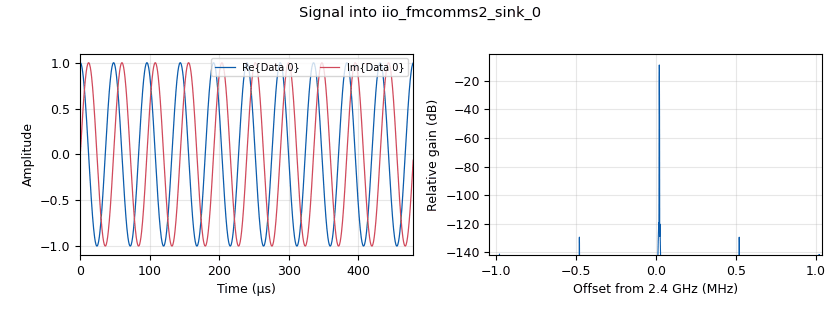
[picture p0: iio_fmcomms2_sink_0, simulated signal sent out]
options:
  parameters:
    author: Travis Collins <travis.collins@analog.com>
    copyright: Analog Devices, Inc.
    generate_options: qt_gui
    id: cyclic_sine_fmcomms
    output_language: python
    title: 'FMComms Example: Cyclic-Sine'
  states: {}

blocks:
- name: samp_rate
  id: variable
  parameters:
    value: '2084000'
  states: {}
- name: uri
  id: variable
  parameters:
    value: '''ip:192.168.2.1'''
  states: {}
- name: analog_sig_source_x_0
  id: analog_sig_source_x
  parameters:
    amp: '1'
    freq: samp_rate/100
    offset: '0'
    samp_rate: samp_rate
    type: complex
    waveform: analog.GR_COS_WAVE
  states: {}
- name: iio_fmcomms2_sink_0
  id: iio_fmcomms2_sink
  parameters:
    attenuation1: '30.0'
    auto_filter: 'True'
    bandwidth: '20000000'
    buffer_size: '32768'
    cyclic: 'False'
    frequency: '2400000000'
    rf_port_select: '''A'''
    samplerate: samp_rate
    tx1_en: 'True'
    tx2_en: 'False'
    uri: uri
  states: {}
- name: iio_fmcomms2_source_0
  id: iio_fmcomms2_source
  parameters:
    auto_filter: 'True'
    bandwidth: '20000000'
    bbdc: 'True'
    buffer_size: '32768'
    frequency: '2400000000'
    gain1: '''slow_attack'''
    quadrature: 'True'
    rf_port_select: '''A_BALANCED'''
    rfdc: 'True'
    rx1_en: 'True'
    rx2_en: 'False'
    samplerate: samp_rate
    uri: uri
  states: {}
- name: qtgui_time_sink_x_0
  id: qtgui_time_sink_x
  parameters:
    color2: green
    marker1: '1'
    marker2: '1'
    size: '1024'
    srate: samp_rate
    type: complex
  states: {}

connections:
- [analog_sig_source_x_0, '0', iio_fmcomms2_sink_0, '0']
- [iio_fmcomms2_source_0, '0', qtgui_time_sink_x_0, '0']

metadata:
  file_format: 1
